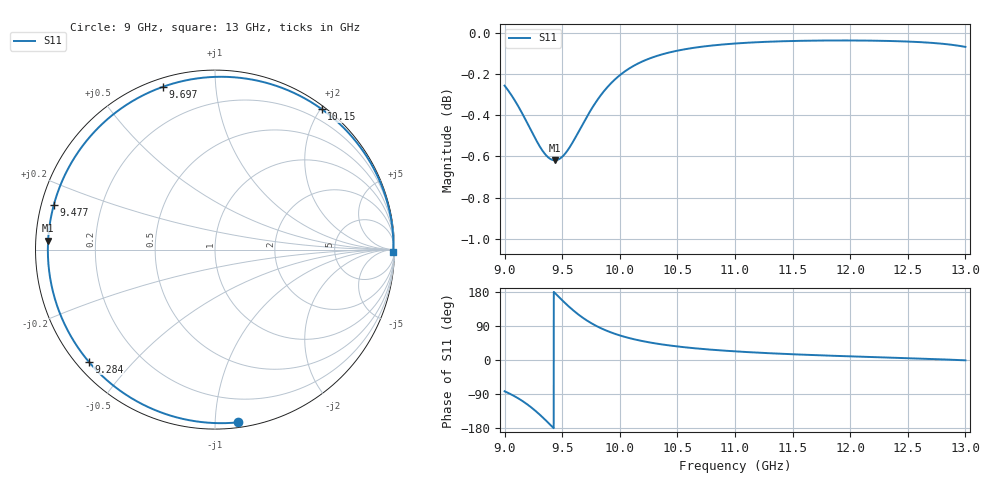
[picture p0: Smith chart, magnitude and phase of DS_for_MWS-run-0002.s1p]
! TOUCHSTONE file generated by CST DESIGN STUDIO
! Date and time: Tue Feb  4 14:25:27 2025
! Project name: C:\Work\MatlabApps\UnitCellOptimizationMatlab\CST\unitcell.cst
! Tree item: Tasks\Sweep1\SPara1\S-Parameters
! Header version: 2024
! Port assignment regex: !\s*Touchstone port\s*([0-9]+)\s*=\s*(CST MWS port|CST DES external port|CST DES block port)\s*(.+)\s* \(\"(.*)\"\)(\s*mode\s*([0-9]+))?.*
! Touchstone port assignment:
! Touchstone port 1 = CST DES external port 1 ("")
# GHz S MA R 50
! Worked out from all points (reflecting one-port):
!   4001 points, 9 GHz to 13 GHz, reference 50 ohm
!   lowest |S11| = -0.6 dB at 9.436 GHz (marker M1), VSWR 28.08, Z = 1.78 + j1.33 ohm
!   phase of S11 starts at -83 deg and turns -278 deg over the sweep
!   S11 on the Smith chart (normalised r, x): 9 GHz: 0.03, -1.14; 9.284 GHz: 0.03, -0.38; 9.477 GHz: 0.04, +0.14; 9.697 GHz: 0.04, +0.73; 10.15 GHz: 0.04, +2.01; 13 GHz: open
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9  0.9709 -82.6
9.087  0.9631 -95.7
9.158  0.9554 -108.8
9.223  0.9477 -123.1
9.284  0.9407 -138.5
9.327  0.9364 -150.4
9.365  0.9335 -161.5
9.401  0.9318 -172.3
9.436  0.9312 177.0
9.477  0.932 164.5
9.5  0.9331 157.6
9.55  0.9367 143.2
9.598  0.9414 130.4
9.646  0.9466 118.8
9.697  0.9523 107.7
9.765  0.9594 95.0
9.846  0.9667 82.5
9.921  0.9721 73.1
10  0.9766 64.9
10.151  0.9828 52.8
10.309  0.987 43.8
10.5  0.9901 35.8
10.723  0.9924 29.0
11  0.9941 22.8
11.5  0.9955 15.2
12  0.9958 9.6
12.5  0.9952 4.7
13  0.9922 -0.9
